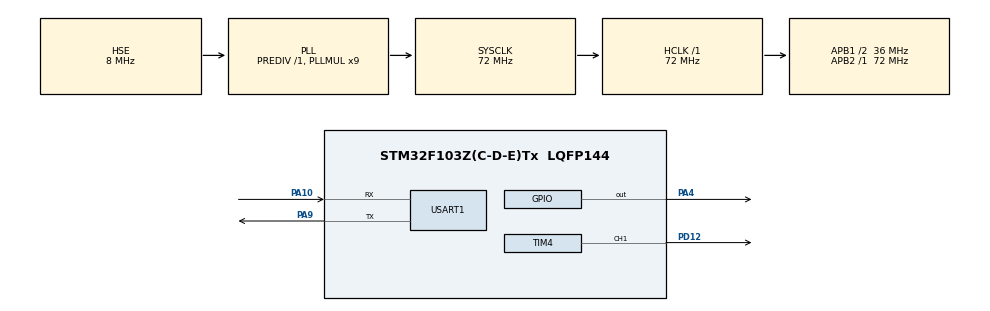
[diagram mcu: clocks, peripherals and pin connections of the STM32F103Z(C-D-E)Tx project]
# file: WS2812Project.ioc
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Dma.Request0=USART1_TX
Dma.Request1=TIM4_CH1
Dma.TIM4_CH1.1.Direction=DMA_MEMORY_TO_PERIPH
Dma.TIM4_CH1.1.Instance=DMA1_Channel1
Dma.TIM4_CH1.1.MemDataAlignment=DMA_MDATAALIGN_WORD
Dma.TIM4_CH1.1.MemInc=DMA_MINC_ENABLE
Dma.TIM4_CH1.1.Mode=DMA_NORMAL
Dma.TIM4_CH1.1.PeriphDataAlignment=DMA_PDATAALIGN_WORD
Dma.TIM4_CH1.1.PeriphInc=DMA_PINC_DISABLE
Dma.TIM4_CH1.1.Priority=DMA_PRIORITY_VERY_HIGH
Dma.USART1_TX.0.Direction=DMA_MEMORY_TO_PERIPH
Dma.USART1_TX.0.Instance=DMA1_Channel4
Dma.USART1_TX.0.MemDataAlignment=DMA_MDATAALIGN_BYTE
Dma.USART1_TX.0.MemInc=DMA_MINC_ENABLE
Dma.USART1_TX.0.Mode=DMA_NORMAL
Dma.USART1_TX.0.PeriphDataAlignment=DMA_PDATAALIGN_BYTE
Dma.USART1_TX.0.PeriphInc=DMA_PINC_DISABLE
Dma.USART1_TX.0.Priority=DMA_PRIORITY_VERY_HIGH
Mcu.Family=STM32F1
Mcu.Name=STM32F103Z(C-D-E)Tx
Mcu.Package=LQFP144
NVIC.DMA1_Channel1_IRQn=true\:0\:0\:false\:false\:true\:false\:true
NVIC.DMA1_Channel4_IRQn=true\:0\:0\:false\:false\:true\:false\:true
NVIC.PriorityGroup=NVIC_PRIORITYGROUP_4
NVIC.TIM2_IRQn=true\:0\:0\:false\:false\:true\:true\:true
NVIC.TIM4_IRQn=true\:0\:0\:false\:false\:true\:true\:true
NVIC.TIM5_IRQn=true\:0\:0\:false\:false\:true\:true\:true
NVIC.USART1_IRQn=true\:0\:0\:false\:false\:true\:true\:true
OSC_IN.Mode=HSE-External-Oscillator
OSC_IN.Signal=RCC_OSC_IN
OSC_OUT.Mode=HSE-External-Oscillator
OSC_OUT.Signal=RCC_OSC_OUT
PA10.Mode=Asynchronous
PA10.Signal=USART1_RX
PA13.Mode=Serial_Wire
PA13.Signal=SYS_JTMS-SWDIO
PA14.Mode=Serial_Wire
PA14.Signal=SYS_JTCK-SWCLK
PA4.GPIO_Speed=GPIO_SPEED_FREQ_HIGH
PA4.Signal=GPIO_Output
PA9.Mode=Asynchronous
PA9.Signal=USART1_TX
PC14-OSC32_IN.Mode=LSE-External-Oscillator
PC14-OSC32_IN.Signal=RCC_OSC32_IN
PC15-OSC32_OUT.Mode=LSE-External-Oscillator
PC15-OSC32_OUT.Signal=RCC_OSC32_OUT
PD12.Signal=S_TIM4_CH1
ProjectManager.HeapSize=0x200
ProjectManager.StackSize=0x400
ProjectManager.TargetToolchain=MDK-ARM V5.27
RCC.AHBFreq_Value=72000000
RCC.APB1CLKDivider=RCC_HCLK_DIV2
RCC.APB1Freq_Value=36000000
RCC.APB1TimFreq_Value=72000000
RCC.APB2Freq_Value=72000000
RCC.APB2TimFreq_Value=72000000
RCC.HCLKFreq_Value=72000000
RCC.PLLMUL=RCC_PLL_MUL9
RCC.PLLSourceVirtual=RCC_PLLSOURCE_HSE
RCC.SYSCLKFreq_VALUE=72000000
RCC.SYSCLKSource=RCC_SYSCLKSOURCE_PLLCLK
RCC.USBFreq_Value=72000000
SH.S_TIM4_CH1.0=TIM4_CH1,PWM Generation1 CH1
TIM2.Period=65535
TIM2.Prescaler=7-1
TIM3.Period=65535
TIM3.Prescaler=720-1
TIM4.Channel-PWM\ Generation1\ CH1=TIM_CHANNEL_1
TIM4.Period=90
TIM4.Prescaler=0
TIM5.Period=1000-1
TIM5.Prescaler=72-1
USART1.VirtualMode=VM_ASYNC
VP_TIM2_VS_ClockSourceINT.Mode=Internal
VP_TIM3_VS_ClockSourceINT.Mode=Internal
VP_TIM4_VS_ClockSourceINT.Mode=Internal
VP_TIM5_VS_ClockSourceINT.Mode=Internal
board=custom

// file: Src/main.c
/* USER CODE BEGIN Header */
/**
  ******************************************************************************
  * @file           : main.c
  * @brief          : Main program body
  ******************************************************************************
  * @attention
  *
  * <h2><center>&copy; Copyright (c) 2023 STMicroelectronics.
  * All rights reserved.</center></h2>
  *
  * This software component is licensed by ST under BSD 3-Clause license,
  * the "License"; You may not use this file except in compliance with the
  * License. You may obtain a copy of the License at:
  *                        opensource.org/licenses/BSD-3-Clause
  *
  ******************************************************************************
  */
/* USER CODE END Header */

#include "main.h"
#include "dma.h"
#include "tim.h"
#include "usart.h"
#include "gpio.h"

/* USER CODE BEGIN Includes */
#include "delay.h"
#include "ws2812.h"
#include  "RGB.h"
/* USER CODE END Includes */

/* USER CODE BEGIN PTD */
int32_t tim3_watch=0;
/* USER CODE END PTD */

/* USER CODE BEGIN PM */

void delay_ns(uint32_t nus){        //延时程序n为1时大概延时时间为370ns左右
	while(nus--);
}

/* USER CODE END PM */

/* USER CODE BEGIN PV */
void delay_100ns(int32_t time_100ns)
{
	for(int32_t i=0;i<time_100ns*20;i++ )
	{
		TIM2->CNT=0;
		HAL_TIM_Base_Start(&htim2);
		while(TIM2->CNT<=2);
		HAL_TIM_Base_Stop(&htim2);
	}
}
void test()
{
	MX_TIM3_Init();
	user_delay_us(100);
	HAL_TIM_Base_Start(&htim3);
	//nop_delay_us(50);
	//nop_delay_125ns((1000/125)*70);
	delay_ns(1000*50);
	tim3_watch=TIM3->CNT;
    HAL_TIM_Base_Stop(&htim3);
	HAL_Delay(1000);
	HAL_Delay(1000);
	HAL_Delay(1000);
}
void code_bit0()
{
	//拉高io
	HAL_GPIO_WritePin(GPIOA,GPIO_PIN_4,GPIO_PIN_SET);
	//延时300ns
	nop_delay_125ns(2);
	//delay_ns(300);
	//拉低io
	HAL_GPIO_WritePin(GPIOA,GPIO_PIN_4,GPIO_PIN_RESET);
	//延时800ns
	nop_delay_125ns(7);
	//delay_ns(800);
//	//拉高io
//	HAL_GPIO_WritePin(GPIOA,GPIO_PIN_4,GPIO_PIN_SET);
}
void code_bit1()
{
	//拉高io
	HAL_GPIO_WritePin(GPIOA,GPIO_PIN_4,GPIO_PIN_SET);
	//延时800ns
	nop_delay_125ns(6);
	//delay_ns(800);
	//拉低io
	HAL_GPIO_WritePin(GPIOA,GPIO_PIN_4,GPIO_PIN_RESET);
	//延时300ns
	nop_delay_125ns(3);
	//delay_ns(300);
//	//拉高io
//	HAL_GPIO_WritePin(GPIOA,GPIO_PIN_4,GPIO_PIN_SET);

}
void ws2812_reset()
{
	HAL_GPIO_WritePin(GPIOA,GPIO_PIN_4,GPIO_PIN_RESET);
	HAL_Delay(10);
	HAL_GPIO_TogglePin(GPIOA,GPIO_PIN_4);
}
void set_rgb(uint8_t r,uint8_t g,uint8_t b)
{

	for(uint8_t i=1;i<=8;i++)
	{
		if((g>>(8-i))&1)
		{
			code_bit1();
		}
		else
		{
			code_bit0();
		}
	}
	for(uint8_t i=1;i<=8;i++)
	{
		if((r>>(8-i))&1)
		{
			code_bit1();
		}
		else
		{
			code_bit0();
		}
	}
	for(uint8_t i=1;i<=8;i++)
	{
		if((b>>(8-i))&1)
		{
			code_bit1();
		}
		else
		{
			code_bit0();
		}
	}
}
/* USER CODE END PV */

void SystemClock_Config(void);

/* USER CODE BEGIN 0 */
int LED_NUM=0;
void HAL_TIM_PeriodElapsedCallback(TIM_HandleTypeDef* htim)
{
	if(htim->Instance==TIM5)
	{
		static int time_door=0;
		time_door++;
		if(time_door>500)
		{
			time_door=0;
			LED_NUM++;
		}

	}
}
/* USER CODE END 0 */

int main(void)
{

  /* MCU Configuration--------------------------------------------------------*/

  /* Reset of all peripherals, Initializes the Flash interface and the Systick. */
  HAL_Init();

  /* Configure the system clock */
  SystemClock_Config();

  /* Initialize all configured peripherals */
  MX_GPIO_Init();
  MX_DMA_Init();
  MX_TIM2_Init();
  MX_TIM3_Init();
  MX_USART1_UART_Init();
  MX_TIM4_Init();
  MX_TIM5_Init();
  /* USER CODE BEGIN 2 */
  HAL_TIM_Base_Start(&htim4);
  HAL_TIM_Base_Start_IT(&htim5);
  /* USER CODE END 2 */

  /* Infinite loop */
  while (1)
  {
	   for(int i=0;i<MAX_LED;i++)
	  {
		  Set_LED (i, 255,0,0);
	  }
	  WS2812_Send2 ();
  }
}

void SystemClock_Config(void)
{
  RCC_OscInitTypeDef RCC_OscInitStruct = {0};
  RCC_ClkInitTypeDef RCC_ClkInitStruct = {0};

  /** Initializes the CPU, AHB and APB busses clocks
  */
  RCC_OscInitStruct.OscillatorType = RCC_OSCILLATORTYPE_HSE;
  RCC_OscInitStruct.HSEState = RCC_HSE_ON;
  RCC_OscInitStruct.HSEPredivValue = RCC_HSE_PREDIV_DIV1;
  RCC_OscInitStruct.HSIState = RCC_HSI_ON;
  RCC_OscInitStruct.PLL.PLLState = RCC_PLL_ON;
  RCC_OscInitStruct.PLL.PLLSource = RCC_PLLSOURCE_HSE;
  RCC_OscInitStruct.PLL.PLLMUL = RCC_PLL_MUL9;
  if (HAL_RCC_OscConfig(&RCC_OscInitStruct) != HAL_OK)
  {
    Error_Handler();
  }
  /** Initializes the CPU, AHB and APB busses clocks
  */
  RCC_ClkInitStruct.ClockType = RCC_CLOCKTYPE_HCLK|RCC_CLOCKTYPE_SYSCLK
                              |RCC_CLOCKTYPE_PCLK1|RCC_CLOCKTYPE_PCLK2;
  RCC_ClkInitStruct.SYSCLKSource = RCC_SYSCLKSOURCE_PLLCLK;
  RCC_ClkInitStruct.AHBCLKDivider = RCC_SYSCLK_DIV1;
  RCC_ClkInitStruct.APB1CLKDivider = RCC_HCLK_DIV2;
  RCC_ClkInitStruct.APB2CLKDivider = RCC_HCLK_DIV1;

  if (HAL_RCC_ClockConfig(&RCC_ClkInitStruct, FLASH_LATENCY_2) != HAL_OK)
  {
    Error_Handler();
  }
}

void Error_Handler(void)
{
}

/************************ (C) COPYRIGHT STMicroelectronics *****END OF FILE****/
